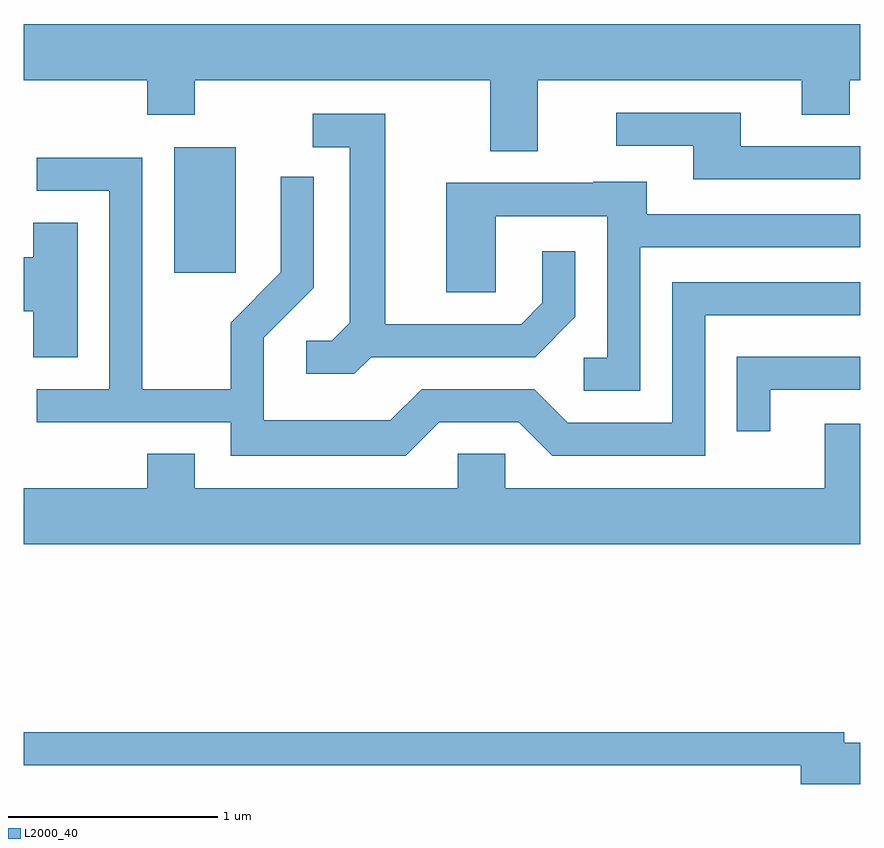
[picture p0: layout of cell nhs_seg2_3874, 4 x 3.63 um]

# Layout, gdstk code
import gdstk
lib = gdstk.Library(unit=1e-6, precision=1e-09)
def R(c, l, rs):  # rectangles x0, y0, x1, y1
    for r in rs: c.add(gdstk.rectangle(r[:2], r[2:], *l))
def P(c, l, *ps):  # polygons
    for p in ps: c.add(gdstk.Polygon(p, *l))
L2000_40 = (2000, 40)

nhs_seg2_3874 = lib.new_cell('nhs_seg2_3874')
R(nhs_seg2_3874, L2000_40, [(300.331,996.336,300.624,996.934)])
P(nhs_seg2_3874, L2000_40, [(302.069,997.256),(303.331,997.256),(303.331,997.091),(303.559,997.091),(303.559,997.256),(303.611,997.256),(303.611,997.524),(299.611,997.524),(299.611,997.256),(300.201,997.256),(300.201,997.091),(300.429,997.091),(300.429,997.256),(301.841,997.256),(301.841,996.916),(302.069,996.916)],
  [(303.611,996.939),(303.039,996.939),(303.039,997.099),(302.443,997.099),(302.443,996.941),(302.811,996.941),(302.811,996.781),(303.611,996.781)],
  [(301.272,995.931),(302.057,995.931),(302.249,996.124),(302.249,996.438),(302.091,996.438),(302.091,996.192),(301.989,996.089),(301.339,996.089),(301.339,997.094),(300.993,997.094),(300.993,996.936),(301.171,996.936),(301.171,996.097),(301.084,996.009),(300.963,996.009),(300.963,995.851),(301.192,995.851)],
  [(301.597,995.621),(301.979,995.621),(302.139,995.461),(302.869,995.461),(302.869,996.131),(303.611,996.131),(303.611,996.289),(302.711,996.289),(302.711,995.619),(302.212,995.619),(302.052,995.779),(301.514,995.779),(301.364,995.629),(300.759,995.629),(300.759,996.024),(300.999,996.264),(300.999,996.793),(300.841,996.793),(300.841,996.337),(300.601,996.097),(300.601,995.779),(300.179,995.779),(300.179,996.884),(299.673,996.884),(299.673,996.726),(300.021,996.726),(300.021,995.779),(299.673,995.779),(299.673,995.621),(300.601,995.621),(300.601,995.461),(301.437,995.461)],
  [(302.559,996.456),(303.611,996.456),(303.611,996.614),(302.589,996.614),(302.589,996.769),(302.335,996.769),(302.335,996.764),(301.631,996.764),(301.631,996.241),(301.869,996.241),(301.869,996.606),(302.401,996.606),(302.401,995.929),(302.288,995.929),(302.288,995.771),(302.559,995.771)],
  [(299.869,996.574),(299.656,996.574),(299.656,996.409),(299.611,996.409),(299.611,996.151),(299.656,996.151),(299.656,995.931),(299.869,995.931)],
  [(303.179,995.776),(303.611,995.776),(303.611,995.934),(303.021,995.934),(303.021,995.578),(303.179,995.578)],
  [(303.611,995.614),(303.441,995.614),(303.441,995.304),(301.914,995.304),(301.914,995.469),(301.686,995.469),(301.686,995.304),(300.429,995.304),(300.429,995.469),(300.201,995.469),(300.201,995.304),(299.611,995.304),(299.611,995.036),(303.611,995.036)],
  [(303.611,994.089),(303.534,994.089),(303.534,994.139),(299.611,994.139),(299.611,993.981),(303.326,993.981),(303.326,993.891),(303.611,993.891)])

lib.write_gds('nhs_seg2_3874.gds')
